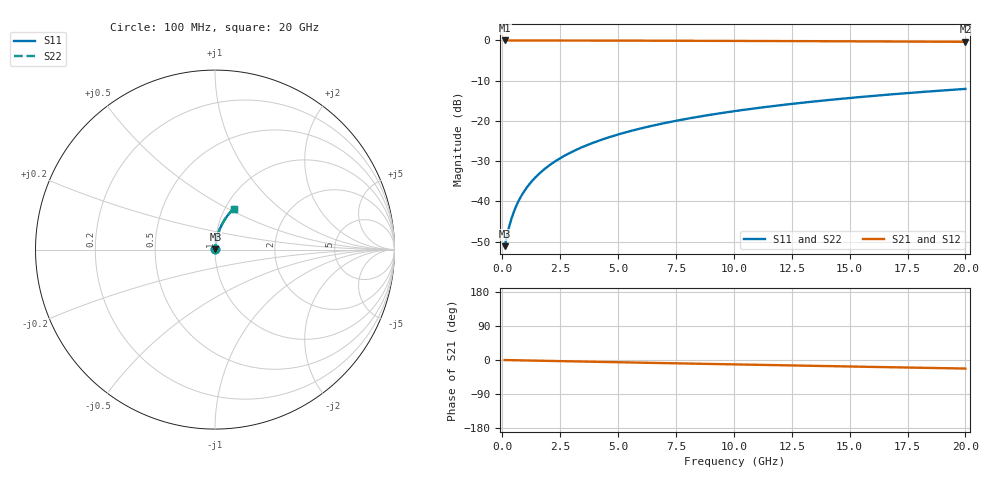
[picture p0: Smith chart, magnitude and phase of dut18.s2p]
! Touchstone file exported from HFSS 2026.1.0
!  File:  C:/ffzhzh/LocalFiles/Ansys_Project_Files/temp_val_BSMRDL_18_1782903342_13352.aedt
!  Generated:  06:56:53 PM Jul  1, 2026
!  Design:  BSMRDL
!  Project:  temp_val_BSMRDL_18_1782903342_13352
! Variables:
!  h_bsmrdl = 4.52um
!  h_ox = 20um
!  h_rdl = 5um
!  h_sub = 80um
!  h_tmrdl = 5um
!  h_tsv = 80um
!  h_via = 3um
!  l_bsmrdl = 294.56um
!  l_sub = 694.56um
!  l_tmrdl = 200um
!  m_sub = 200um
!  pitch = 33.18um
!  r_tsv = 6um
!  s_tmrdl = 10um
!  w_bsmrdl = 10um
!  w_sub = 500um
!  w_tmrdl = 12um
!  x_tsv_center1 = 206um
!  x_tsv_center2 = 510.56um
!  x_tsv_center3 = 722.56um
!  x_tsv_center4 = 1027.12um
!  x_tsv_center5 = 1239.12um
!  x_tsv_center6 = 1543.68um
# GHz S MA R 50.000000
! Terminal data exported
! Port[1] = BSM_RDL1_1_T1
! Port[2] = BSM_RDL1_1_T2
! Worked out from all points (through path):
!   200 points, 100 MHz to 20 GHz, reference 50 ohm
!   highest |S21| = -0.02 dB at 100 MHz (marker M1); lowest = -0.4 dB at 20 GHz (marker M2)
!   group delay of S21, straight-line fit = 3.13 ps
!   lowest |S11| = -51.1 dB at 100 MHz (marker M3), VSWR 1.01, Z = 50.2 + j0.144 ohm
!   |S11| at or under -10 dB: start of sweep to end of sweep
!   |S22| runs from -51.1 to -12.1 dB; largest |S21 - S12| = 2e-15
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0.1  0.002783 30.9  0.9976 -0.1  0.9976 -0.1  0.002783 30.9
! Gamma 0 0 0 0
! Port Impedance 50 0 50 0
0.3  0.004913 59.5  0.9975 -0.4  0.9975 -0.4  0.004912 59.5
0.4  0.006165 65.6  0.9975 -0.5  0.9975 -0.5  0.006165 65.6
0.5  0.007454 69.5  0.9974 -0.6  0.9974 -0.6  0.007454 69.5
0.6  0.008763 72.2  0.9974 -0.7  0.9974 -0.7  0.008763 72.2
0.8  0.01142 75.8  0.9973 -1.0  0.9973 -1.0  0.01142 75.8
1  0.0141 77.9  0.9972 -1.2  0.9972 -1.2  0.0141 77.9
1.2  0.0168 79.3  0.9971 -1.4  0.9971 -1.4  0.0168 79.3
1.4  0.01951 80.2  0.997 -1.7  0.997 -1.7  0.01951 80.2
1.7  0.02357 81.1  0.9969 -2.0  0.9969 -2.0  0.02357 81.1
2.2  0.03035 81.7  0.9965 -2.6  0.9965 -2.6  0.03035 81.7
2.8  0.03846 81.9  0.9961 -3.3  0.9961 -3.3  0.03846 81.9
3.5  0.04787 81.7  0.9954 -4.1  0.9954 -4.1  0.04787 81.7
4.2  0.05721 81.3  0.9946 -5.0  0.9946 -5.0  0.05721 81.3
5  0.0678 80.6  0.9936 -5.9  0.9936 -5.9  0.0678 80.6
5.9  0.0796 79.8  0.9923 -6.9  0.9923 -6.9  0.0796 79.8
6.8  0.09127 78.9  0.9909 -8.0  0.9909 -8.0  0.09127 78.9
8.3  0.1105 77.4  0.9883 -9.7  0.9883 -9.7  0.1105 77.4
10.1  0.1331 75.6  0.9848 -11.7  0.9848 -11.7  0.1331 75.6
13.4  0.1735 72.2  0.9775 -15.4  0.9775 -15.4  0.1735 72.2
16.7  0.2124 68.8  0.969 -19.0  0.969 -19.0  0.2124 68.8
20  0.2496 65.4  0.9595 -22.6  0.9595 -22.6  0.2496 65.4
